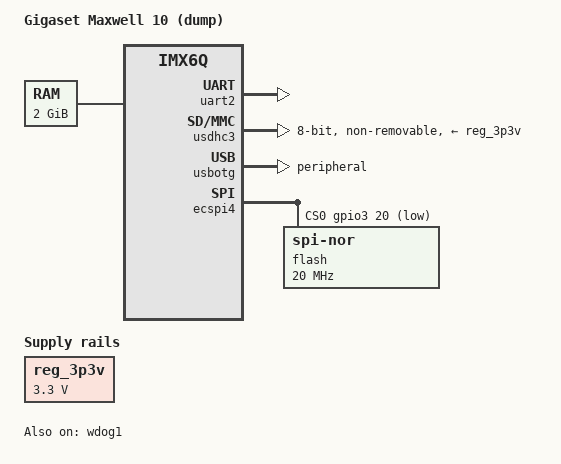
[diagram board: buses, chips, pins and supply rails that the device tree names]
// SPDX-License-Identifier: GPL-2.0
/*
 * Gigaset Maxwell 10 (max10 HW rev 9) — DT minimal pour dump eMMC/NOR
 * Pinmux repris du DT vendeur (BSP 3.14.52).
 */
/dts-v1/;

#include <dt-bindings/gpio/gpio.h>
#include "imx6q.dtsi"

/ {
	model = "Gigaset Maxwell 10 (dump)";
	compatible = "gigaset,maxwell10", "fsl,imx6q";

	chosen {
		stdout-path = &uart2;
		bootargs = "console=ttymxc1,115200 earlycon=ec_imx6q,0x021e8000 loglevel=8 rdinit=/init";
	};

	memory@10000000 {
		device_type = "memory";
		reg = <0x10000000 0x80000000>;
	};

	reg_3p3v: regulator-3p3v {
		compatible = "regulator-fixed";
		regulator-name = "3P3V";
		regulator-min-microvolt = <3300000>;
		regulator-max-microvolt = <3300000>;
		regulator-always-on;
	};
};

&uart2 {
	pinctrl-names = "default";
	pinctrl-0 = <&pinctrl_uart2>;
	status = "okay";
};

/* eMMC SEM04G, 8 bits */
&usdhc3 {
	pinctrl-names = "default";
	pinctrl-0 = <&pinctrl_usdhc3>;
	bus-width = <8>;
	non-removable;
	no-1-8-v;
	vmmc-supply = <&reg_3p3v>;
	status = "okay";
};

/* Port mini-USB (OTG) en mode device uniquement */
&usbotg {
	dr_mode = "peripheral";
	disable-over-current;
	status = "okay";
};

/* Le watchdog est peut-être déjà armé par U-Boot : le noyau doit le servir */
&wdog1 {
	status = "okay";
};

/* NOR SPI w25q16 (U-Boot + jffs2 vendor_gigaset) */
&ecspi4 {
	pinctrl-names = "default";
	pinctrl-0 = <&pinctrl_ecspi4>;
	cs-gpios = <&gpio3 20 GPIO_ACTIVE_LOW>;
	status = "okay";

	flash@0 {
		compatible = "jedec,spi-nor";
		reg = <0>;
		spi-max-frequency = <20000000>;
	};
};

&iomuxc {
	pinctrl_uart2: uart2grp {
		fsl,pins = <
			0x0bc 0x3d0 0x000 0x4 0x0 0x1b0b1
			0x0c0 0x3d4 0x928 0x4 0x1 0x1b0b1
		>;
	};

	pinctrl_usdhc3: usdhc3grp {
		fsl,pins = <
			0x2b8 0x6a0 0x000 0x0 0x0 0x17059
			0x2bc 0x6a4 0x000 0x0 0x0 0x10059
			0x2c0 0x6a8 0x000 0x0 0x0 0x17059
			0x2c4 0x6ac 0x000 0x0 0x0 0x17059
			0x2c8 0x6b0 0x000 0x0 0x0 0x17059
			0x2cc 0x6b4 0x000 0x0 0x0 0x17059
			0x2b4 0x69c 0x000 0x0 0x0 0x17059
			0x2b0 0x698 0x000 0x0 0x0 0x17059
			0x2ac 0x694 0x000 0x0 0x0 0x17059
			0x2a8 0x690 0x000 0x0 0x0 0x17059
			0x2d0 0x6b8 0x000 0x0 0x0 0x17059
		>;
	};

	pinctrl_ecspi4: ecspi4grp {
		fsl,pins = <
			0x0a8 0x3bc 0x000 0x1 0x0 0x100b1	/* EIM_D21 ECSPI4_SCLK */
			0x0c4 0x3d8 0x000 0x2 0x0 0x100b1	/* EIM_D28 ECSPI4_MOSI */
			0x0a4 0x3b8 0x000 0x1 0x0 0x100b1	/* EIM_D22 ECSPI4_MISO */
			0x0a0 0x3b4 0x000 0x5 0x0 0x0b0b1	/* EIM_D20 GPIO3_IO20 (CS) */
		>;
	};
};
